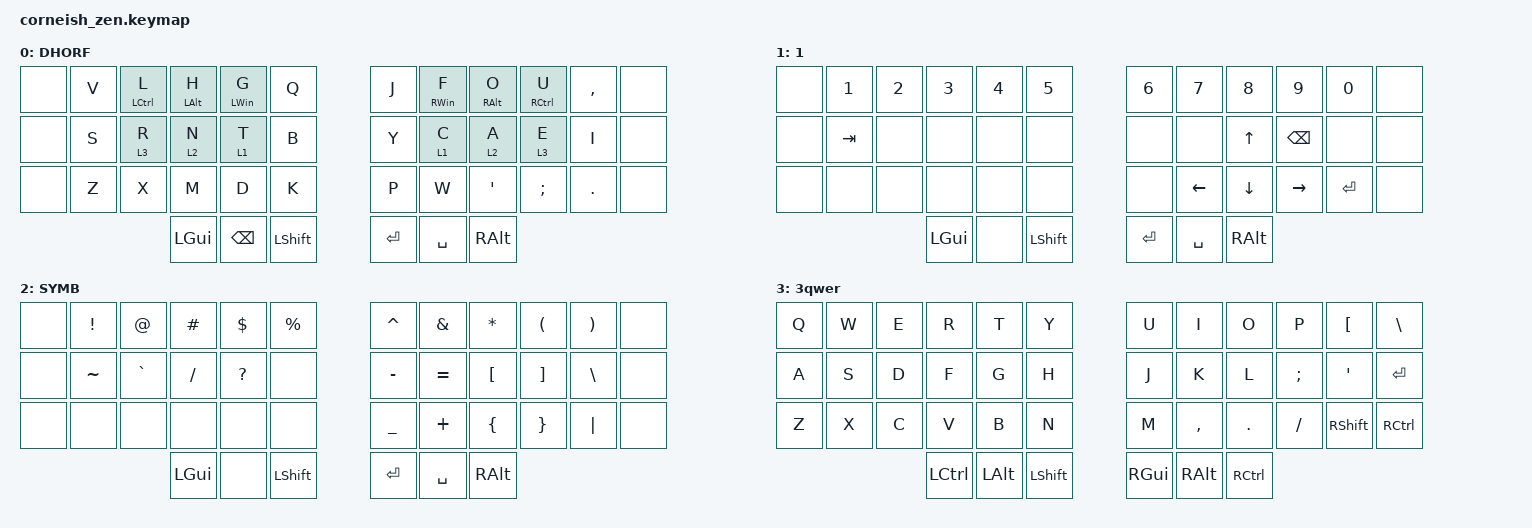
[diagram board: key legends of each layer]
#include <behaviors.dtsi>
#include <dt-bindings/zmk/keys.h>

/ {
    chosen {
        zmk,matrix_transform = &default_transform;

        //zmk,matrix_transform = &five_column_transform;
    };
};

/ {
    behaviors {
        holdtap: holdtap {
            compatible = "zmk,behavior-hold-tap";
            label = "HOLDTAP";
            bindings = <&mo>, <&kp>;

            #binding-cells = <2>;
            tapping-term-ms = <200>;
            flavor = "balanced";
        };

        commandtap: commandtap {
            compatible = "zmk,behavior-hold-tap";
            label = "COMMANDTAP";
            bindings = <&kp>, <&kp>;

            #binding-cells = <2>;
            tapping-term-ms = <200>;
        };
    };

    keymap {
        compatible = "zmk,keymap";

        default_layer {
            label = "DHORF";

            // -----------------------------------------------------------------------------------------
            // |  TAB |  V |  W  |  E  |  R  |  T  |   |  Y  |  U   |  I  |  O  |  P  | BKSP |
            // | CTRL |  A  |  S  |  D  |  F  |  G  |   |  H  |  J   |  K  |  L  |  ;  |  '   |
            // | SHFT |  Z  |  X  |  C  |  V  |  B  |   |  N  |  M   |  ,  |  .  |  /  | ESC  |
            //                    | GUI | LWR | SPC |   | ENT | RSE  | ALT |

            bindings = <
&none  &kp V  &mt LEFT_CONTROL L  &mt LEFT_ALT H  &mt LEFT_WIN G  &kp Q             &kp J       &mt RIGHT_WIN F  &mt RIGHT_ALT O  &mt RIGHT_CONTROL U  &kp COMMA   &none
&none  &kp S  &lt 3 R             &lt 2 N         &lt 1 T         &kp B             &kp Y       &lt 1 C          &lt 2 A          &lt 3 E              &kp I       &none
&none  &kp Z  &kp X               &kp M           &kp D           &kp K             &kp P       &kp W            &kp APOSTROPHE   &kp SEMICOLON        &kp PERIOD  &none
                                  &kp LGUI        &kp BACKSPACE   &kp LEFT_SHIFT    &kp RETURN  &kp SPACE        &kp RALT
            >;
        };

        layer1 {
            label = "1";

            // -----------------------------------------------------------------------------------------
            // |  TAB |  1  |  2  |  3  |  4  |  5  |   |  6  |  7  |  8  |  9  |  0  | BKSP |
            // | BTCLR| BT1 | BT2 | BT3 | BT4 | BT5 |   | LFT | DWN |  UP | RGT |     |      |
            // | SHFT |     |     |     |     |     |   |     |     |     |     |     |      |
            //                    | GUI |     | SPC |   | ENT |     | ALT |

            bindings = <
&none  &kp N1   &kp N2  &kp N3    &kp N4  &kp N5            &kp N6      &kp N7          &kp N8          &kp N9           &kp N0     &none
&none  &kp TAB  &none   &none     &none   &none             &none       &none           &kp UP          &kp BACKSPACE    &none      &none
&none  &none    &none   &none     &none   &none             &none       &kp LEFT_ARROW  &kp DOWN_ARROW  &kp RIGHT_ARROW  &kp ENTER  &none
                        &kp LGUI  &none   &kp LEFT_SHIFT    &kp RETURN  &kp SPACE       &kp RALT
            >;
        };

        raise_layer {
            label = "SYMB";

            // -----------------------------------------------------------------------------------------
            // |  TAB |  !  |  @  |  #  |  $  |  %  |   |  ^  |  &  |  *  |  (  |  )  | BKSP |
            // | CTRL |     |     |     |     |     |   |  -  |  =  |  [  |  ]  |  \  |  `   |
            // | SHFT |     |     |     |     |     |   |  _  |  +  |  {  |  }  | "|" |  ~   |
            //                    | GUI |     | SPC |   | ENT |     | ALT |

            bindings = <
&none  &kp EXCL   &kp AT     &kp HASH   &kp DLLR      &kp PRCNT         &kp CARET   &kp AMPS   &kp STAR  &kp LPAR  &kp RPAR  &none
&none  &kp TILDE  &kp GRAVE  &kp SLASH  &kp QUESTION  &none             &kp MINUS   &kp EQUAL  &kp LBKT  &kp RBKT  &kp BSLH  &none
&none  &none      &none      &none      &none         &none             &kp UNDER   &kp PLUS   &kp LBRC  &kp RBRC  &kp PIPE  &none
                             &kp LGUI   &none         &kp LEFT_SHIFT    &kp RETURN  &kp SPACE  &kp RALT
            >;
        };

        layer_3 {
            bindings = <
&kp Q  &kp W  &kp E  &kp R      &kp T     &kp Y             &kp U     &kp I      &kp O      &kp P     &kp LBKT   &kp BSLH
&kp A  &kp S  &kp D  &kp F      &kp G     &kp H             &kp J     &kp K      &kp L      &kp SEMI  &kp APOS   &kp ENTER
&kp Z  &kp X  &kp C  &kp V      &kp B     &kp N             &kp M     &kp COMMA  &kp DOT    &kp FSLH  &kp RSHFT  &kp RCTRL
                     &kp LCTRL  &kp LALT  &kp LEFT_SHIFT    &kp RGUI  &kp RALT   &kp RCTRL
            >;

            label = "3qwer";
        };
    };
};
